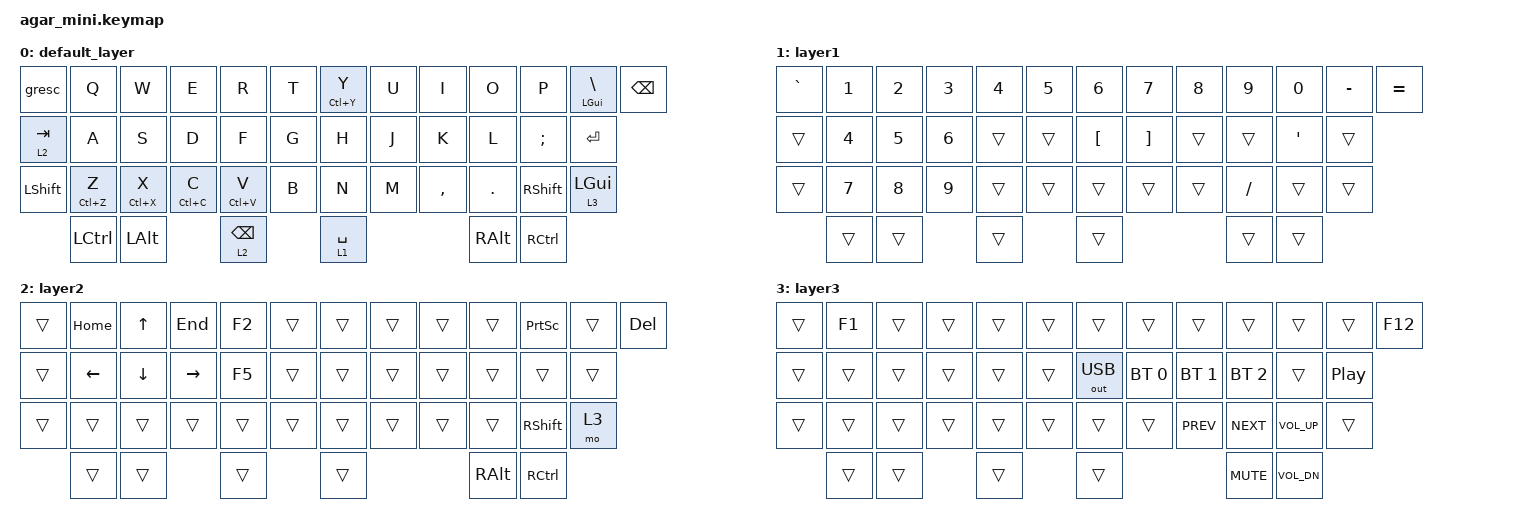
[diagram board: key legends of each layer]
/*
 * Copyright (c) 2021 The ZMK Contributors
 *
 * SPDX-License-Identifier: MIT
 */

#include "./boards/shields/klink_kbd/common.keymap"
#include <behaviors.dtsi>
#include <dt-bindings/zmk/bt.h>
#include <dt-bindings/zmk/keys.h>
#include <dt-bindings/zmk/outputs.h>

&lt {
    tapping-term-ms = <320>;
    flavor = "tap-preferred";
};

&mt {
    tapping-term-ms = <320>;
    flavor = "tap-preferred";
};

/ {
    keymap {
        compatible = "zmk,keymap";

        default_layer {
            bindings = <
&gresc     &kp Q        &kp W        &kp E        &kp R            &kp T  &mt LC(Y) Y  &kp U  &kp I      &kp O          &kp P              &mt LGUI BACKSLASH  &kp BSPC
&lt 2 TAB  &kp A        &kp S        &kp D        &kp F            &kp G  &kp H        &kp J  &kp K      &kp L          &kp SEMI           &kp RET
&kp LSHFT  &mt LC(Z) Z  &mt LC(X) X  &mt LC(C) C  &mt LC(V) V      &kp B  &kp N        &kp M  &kp COMMA  &kp DOT        &kp RIGHT_SHIFT    &lt 3 LEFT_GUI
           &kp LCTRL    &kp LALT                  &lt 2 BACKSPACE         &lt 1 SPACE                    &kp RIGHT_ALT  &kp RIGHT_CONTROL
            >;
        };

        layer1 {
            bindings = <
&kp GRAVE  &kp N1        &kp N2        &kp N3        &kp N4  &kp N5  &kp N6            &kp N7             &kp N8  &kp N9     &kp N0            &kp MINUS  &kp EQUAL
&trans     &kp NUMBER_4  &kp NUMBER_5  &kp NUMBER_6  &trans  &trans  &kp LEFT_BRACKET  &kp RIGHT_BRACKET  &trans  &trans     &kp SINGLE_QUOTE  &trans
&trans     &kp N7        &kp NUMBER_8  &kp N9        &trans  &trans  &trans            &trans             &trans  &kp SLASH  &trans            &trans
           &trans        &trans                      &trans          &trans                                       &trans     &trans
            >;
        };

        layer2 {
            bindings = <
&trans  &kp HOME        &kp UP_ARROW    &kp END          &kp F2  &trans  &trans  &trans  &trans  &trans    &kp PRINTSCREEN  &trans  &kp DELETE
&trans  &kp LEFT_ARROW  &kp DOWN_ARROW  &kp RIGHT_ARROW  &kp F5  &trans  &trans  &trans  &trans  &trans    &trans           &trans
&trans  &trans          &trans          &trans           &trans  &trans  &trans  &trans  &trans  &trans    &kp RIGHT_SHIFT  &mo 3
        &trans          &trans                           &trans          &trans                  &kp RALT  &kp RCTRL
            >;
        };

        layer3 {
            bindings = <
&trans  &kp F1  &trans  &trans  &trans  &trans  &trans        &trans        &trans        &trans        &trans        &trans            &kp F12
&trans  &trans  &trans  &trans  &trans  &trans  &out OUT_USB  &bt BT_SEL 0  &bt BT_SEL 1  &bt BT_SEL 2  &trans        &kp C_PLAY_PAUSE
&trans  &trans  &trans  &trans  &trans  &trans  &trans        &trans        &kp C_PREV    &kp C_NEXT    &kp C_VOL_UP  &trans
        &trans  &trans          &trans          &trans                                    &kp C_MUTE    &kp C_VOL_DN
            >;
        };
    };
};
